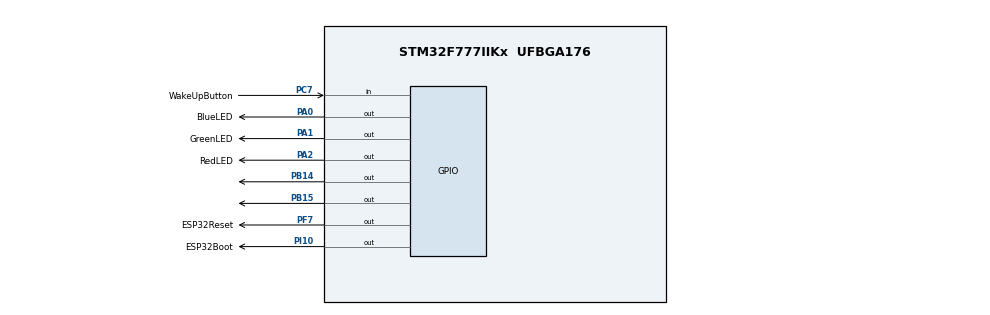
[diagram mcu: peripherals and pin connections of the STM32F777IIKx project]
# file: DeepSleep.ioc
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Mcu.Family=STM32F7
Mcu.Name=STM32F777IIKx
Mcu.Package=UFBGA176
NVIC.PriorityGroup=NVIC_PRIORITYGROUP_4
PA0/WKUP.GPIO_Label=BlueLED
PA0/WKUP.Signal=GPIO_Output
PA1.GPIO_Label=GreenLED
PA1.Signal=GPIO_Output
PA2.GPIO_Label=RedLED
PA2.Signal=GPIO_Output
PB14.Signal=GPIO_Output
PB15.Signal=GPIO_Output
PC7.GPIO_Label=WakeUpButton
PC7.Signal=GPIO_Input
PF7.GPIO_Label=ESP32Reset
PF7.GPIO_PuPd=GPIO_PULLUP
PF7.PinState=GPIO_PIN_SET
PF7.Signal=GPIO_Output
PI10.GPIO_Label=ESP32Boot
PI10.GPIO_PuPd=GPIO_PULLUP
PI10.PinState=GPIO_PIN_SET
PI10.Signal=GPIO_Output
ProjectManager.HeapSize=0x200
ProjectManager.StackSize=0x400
ProjectManager.TargetToolchain=STM32CubeIDE
RCC.HSE_VALUE=25000000
RCC.HSI_VALUE=16000000
RCC.LSE_VALUE=32768
RCC.USBFreq_Value=96000000
RCC.VCOOutputFreq_Value=192000000
board=custom

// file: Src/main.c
/* USER CODE BEGIN Header */
/**
  ******************************************************************************
  * @file           : main.c
  * @brief          : Main program body
  ******************************************************************************
  ** This notice applies to any and all portions of this file
  * that are not between comment pairs USER CODE BEGIN and
  * USER CODE END. Other portions of this file, whether
  * inserted by the user or by software development tools
  * are owned by their respective copyright owners.
  *
  * COPYRIGHT(c) 2019 STMicroelectronics
  *
  * Redistribution and use in source and binary forms, with or without modification,
  * are permitted provided that the following conditions are met:
  *   1. Redistributions of source code must retain the above copyright notice,
  *      this list of conditions and the following disclaimer.
  *   2. Redistributions in binary form must reproduce the above copyright notice,
  *      this list of conditions and the following disclaimer in the documentation
  *      and/or other materials provided with the distribution.
  *   3. Neither the name of STMicroelectronics nor the names of its contributors
  *      may be used to endorse or promote products derived from this software
  *      without specific prior written permission.
  *
  * THIS SOFTWARE IS PROVIDED BY THE COPYRIGHT HOLDERS AND CONTRIBUTORS "AS IS"
  * AND ANY EXPRESS OR IMPLIED WARRANTIES, INCLUDING, BUT NOT LIMITED TO, THE
  * IMPLIED WARRANTIES OF MERCHANTABILITY AND FITNESS FOR A PARTICULAR PURPOSE ARE
  * DISCLAIMED. IN NO EVENT SHALL THE COPYRIGHT HOLDER OR CONTRIBUTORS BE LIABLE
  * FOR ANY DIRECT, INDIRECT, INCIDENTAL, SPECIAL, EXEMPLARY, OR CONSEQUENTIAL
  * DAMAGES (INCLUDING, BUT NOT LIMITED TO, PROCUREMENT OF SUBSTITUTE GOODS OR
  * SERVICES; LOSS OF USE, DATA, OR PROFITS; OR BUSINESS INTERRUPTION) HOWEVER
  * CAUSED AND ON ANY THEORY OF LIABILITY, WHETHER IN CONTRACT, STRICT LIABILITY,
  * OR TORT (INCLUDING NEGLIGENCE OR OTHERWISE) ARISING IN ANY WAY OUT OF THE USE
  * OF THIS SOFTWARE, EVEN IF ADVISED OF THE POSSIBILITY OF SUCH DAMAGE.
  *
  ******************************************************************************
  */
/* USER CODE END Header */

#include "main.h"

void SystemClock_Config(void);
static void MX_GPIO_Init(void);

int main(void)
{

  /* MCU Configuration--------------------------------------------------------*/

  /* Reset of all peripherals, Initializes the Flash interface and the Systick. */
  HAL_Init();

  /* Configure the system clock */
  SystemClock_Config();

  /* Initialize all configured peripherals */
  MX_GPIO_Init();
  /* USER CODE BEGIN 2 */

  //
  //  Turn off the LEDs.
  //
  HAL_GPIO_WritePin(RedLED_GPIO_Port, RedLED_Pin, GPIO_PIN_SET);
  HAL_GPIO_WritePin(BlueLED_GPIO_Port, BlueLED_Pin, GPIO_PIN_SET);
  HAL_GPIO_WritePin(GreenLED_GPIO_Port, GreenLED_Pin, GPIO_PIN_SET);

  //
  //  Reset the ESP32.
  //
  //  Hold boot high during boot to prevent the chip entering programming mode.
  //
  HAL_GPIO_WritePin(ESP32Boot_GPIO_Port, ESP32Boot_Pin, GPIO_PIN_SET);
  HAL_GPIO_WritePin(ESP32Reset_GPIO_Port, ESP32Reset_Pin, GPIO_PIN_RESET);
  HAL_GPIO_WritePin(ESP32Reset_GPIO_Port, ESP32Reset_Pin, GPIO_PIN_SET);

  /* USER CODE END 2 */

  /* Infinite loop */
  /* USER CODE BEGIN WHILE */
  GPIO_PinState redLedState;
  while (1)
  {
    //
    //  Force a reset.
    //
    HAL_GPIO_WritePin(ESP32Reset_GPIO_Port, ESP32Reset_Pin, GPIO_PIN_RESET);
    HAL_Delay(100);
    HAL_GPIO_WritePin(ESP32Reset_GPIO_Port, ESP32Reset_Pin, GPIO_PIN_SET);

    HAL_Delay(15000);

    //
    //  Wakeup due to boot pin (EXT1) going low.
    //
    HAL_GPIO_WritePin(ESP32Boot_GPIO_Port, ESP32Boot_Pin, GPIO_PIN_RESET);
    HAL_GPIO_WritePin(ESP32Boot_GPIO_Port, ESP32Boot_Pin, GPIO_PIN_SET);

    //
    //  Allow a reset due to timeout on the ESP32.
    //
    HAL_Delay(25000);

    HAL_GPIO_TogglePin(BlueLED_GPIO_Port, BlueLED_Pin);

    /* USER CODE END WHILE */

  }
}

void SystemClock_Config(void)
{
  RCC_OscInitTypeDef RCC_OscInitStruct = {0};
  RCC_ClkInitTypeDef RCC_ClkInitStruct = {0};

  /** Configure the main internal regulator output voltage
  */
  __HAL_RCC_PWR_CLK_ENABLE();
  __HAL_PWR_VOLTAGESCALING_CONFIG(PWR_REGULATOR_VOLTAGE_SCALE3);
  /** Initializes the CPU, AHB and APB busses clocks
  */
  RCC_OscInitStruct.OscillatorType = RCC_OSCILLATORTYPE_HSI;
  RCC_OscInitStruct.HSIState = RCC_HSI_ON;
  RCC_OscInitStruct.HSICalibrationValue = RCC_HSICALIBRATION_DEFAULT;
  RCC_OscInitStruct.PLL.PLLState = RCC_PLL_NONE;
  if (HAL_RCC_OscConfig(&RCC_OscInitStruct) != HAL_OK)
  {
    Error_Handler();
  }
  /** Initializes the CPU, AHB and APB busses clocks
  */
  RCC_ClkInitStruct.ClockType = RCC_CLOCKTYPE_HCLK|RCC_CLOCKTYPE_SYSCLK
                              |RCC_CLOCKTYPE_PCLK1|RCC_CLOCKTYPE_PCLK2;
  RCC_ClkInitStruct.SYSCLKSource = RCC_SYSCLKSOURCE_HSI;
  RCC_ClkInitStruct.AHBCLKDivider = RCC_SYSCLK_DIV1;
  RCC_ClkInitStruct.APB1CLKDivider = RCC_HCLK_DIV1;
  RCC_ClkInitStruct.APB2CLKDivider = RCC_HCLK_DIV1;

  if (HAL_RCC_ClockConfig(&RCC_ClkInitStruct, FLASH_LATENCY_0) != HAL_OK)
  {
    Error_Handler();
  }
}

static void MX_GPIO_Init(void)
{
  GPIO_InitTypeDef GPIO_InitStruct = {0};

  /* GPIO Ports Clock Enable */
  __HAL_RCC_GPIOI_CLK_ENABLE();
  __HAL_RCC_GPIOC_CLK_ENABLE();
  __HAL_RCC_GPIOF_CLK_ENABLE();
  __HAL_RCC_GPIOA_CLK_ENABLE();
  __HAL_RCC_GPIOB_CLK_ENABLE();

  /*Configure GPIO pin Output Level */
  HAL_GPIO_WritePin(ESP32Boot_GPIO_Port, ESP32Boot_Pin, GPIO_PIN_SET);

  /*Configure GPIO pin Output Level */
  HAL_GPIO_WritePin(ESP32Reset_GPIO_Port, ESP32Reset_Pin, GPIO_PIN_SET);

  /*Configure GPIO pin Output Level */
  HAL_GPIO_WritePin(GPIOA, GreenLED_Pin|BlueLED_Pin|RedLED_Pin, GPIO_PIN_RESET);

  /*Configure GPIO pin Output Level */
  HAL_GPIO_WritePin(GPIOB, GPIO_PIN_14|GPIO_PIN_15, GPIO_PIN_RESET);

  /*Configure GPIO pin : ESP32Boot_Pin */
  GPIO_InitStruct.Pin = ESP32Boot_Pin;
  GPIO_InitStruct.Mode = GPIO_MODE_OUTPUT_PP;
  GPIO_InitStruct.Pull = GPIO_PULLUP;
  GPIO_InitStruct.Speed = GPIO_SPEED_FREQ_LOW;
  HAL_GPIO_Init(ESP32Boot_GPIO_Port, &GPIO_InitStruct);

  /*Configure GPIO pin : WakeUpButton_Pin */
  GPIO_InitStruct.Pin = WakeUpButton_Pin;
  GPIO_InitStruct.Mode = GPIO_MODE_INPUT;
  GPIO_InitStruct.Pull = GPIO_NOPULL;
  HAL_GPIO_Init(WakeUpButton_GPIO_Port, &GPIO_InitStruct);

  /*Configure GPIO pin : ESP32Reset_Pin */
  GPIO_InitStruct.Pin = ESP32Reset_Pin;
  GPIO_InitStruct.Mode = GPIO_MODE_OUTPUT_PP;
  GPIO_InitStruct.Pull = GPIO_PULLUP;
  GPIO_InitStruct.Speed = GPIO_SPEED_FREQ_LOW;
  HAL_GPIO_Init(ESP32Reset_GPIO_Port, &GPIO_InitStruct);

  /*Configure GPIO pins : GreenLED_Pin BlueLED_Pin RedLED_Pin */
  GPIO_InitStruct.Pin = GreenLED_Pin|BlueLED_Pin|RedLED_Pin;
  GPIO_InitStruct.Mode = GPIO_MODE_OUTPUT_PP;
  GPIO_InitStruct.Pull = GPIO_NOPULL;
  GPIO_InitStruct.Speed = GPIO_SPEED_FREQ_LOW;
  HAL_GPIO_Init(GPIOA, &GPIO_InitStruct);

  /*Configure GPIO pins : PB14 PB15 */
  GPIO_InitStruct.Pin = GPIO_PIN_14|GPIO_PIN_15;
  GPIO_InitStruct.Mode = GPIO_MODE_OUTPUT_PP;
  GPIO_InitStruct.Pull = GPIO_NOPULL;
  GPIO_InitStruct.Speed = GPIO_SPEED_FREQ_LOW;
  HAL_GPIO_Init(GPIOB, &GPIO_InitStruct);

}

void Error_Handler(void)
{
}

/************************ (C) COPYRIGHT STMicroelectronics *****END OF FILE****/
